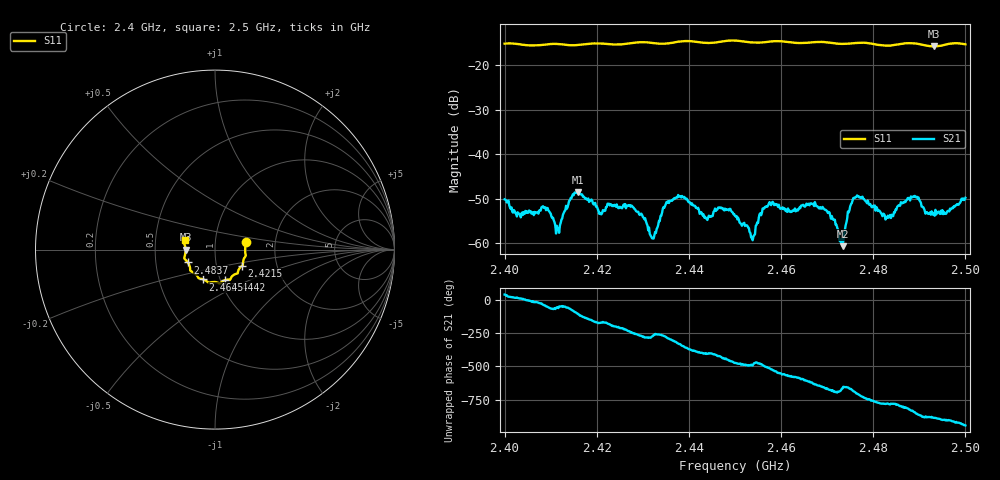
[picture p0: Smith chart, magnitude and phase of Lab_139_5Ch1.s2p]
# Hz S RI R 50
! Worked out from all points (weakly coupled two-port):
!   601 points, 2.4 GHz to 2.5 GHz, reference 50 ohm
!   highest |S21| = -48.56 dB at 2.416 GHz (marker M1); lowest = -60.7 dB at 2.4733 GHz (marker M2)
!   lowest |S11| = -15.7 dB at 2.4932 GHz (marker M3), VSWR 1.39, Z = 35.9 - j0.0495 ohm
!   |S11| at or under -10 dB: start of sweep to end of sweep
!   S12 and S22 are empty: the file has one direction only
!   S11 on the Smith chart (normalised r, x): 2.4 GHz: 1.41, +0.12; 2.4215 GHz: 1.33, -0.25; 2.4442 GHz: 1.05, -0.37; 2.4645 GHz: 0.83, -0.29; 2.4837 GHz: 0.73, -0.11; 2.5 GHz: 0.71, +0.07
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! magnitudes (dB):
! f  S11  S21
! 2.4 GHz  -15.1  -50.2
! 2.4088 GHz  -15.3  -52.0
! 2.4115 GHz  -15.2  -56.9
! 2.416 GHz  -15.4  -48.6
! 2.4167 GHz  -15.3  -49.1
! 2.4215 GHz  -15.1  -52.8
! 2.432 GHz  -14.9  -58.9
! 2.4333 GHz  -15.1  -55.9
! 2.4377 GHz  -14.7  -49.2
! 2.4442 GHz  -15.0  -54.2
! 2.45 GHz  -14.4  -53.9
! 2.4538 GHz  -14.8  -59.4
! 2.457 GHz  -14.7  -51.8
! 2.4645 GHz  -15.0  -51.5
! 2.4667 GHz  -14.8  -51.2
! 2.4733 GHz  -15.2  -60.7
! 2.4762 GHz  -15.0  -49.7
! 2.4833 GHz  -15.6  -54.3
! 2.4837 GHz  -15.5  -53.7
! 2.4887 GHz  -15.0  -49.5
! 2.4932 GHz  -15.7  -53.3
! 2.5 GHz  -15.3  -49.8
